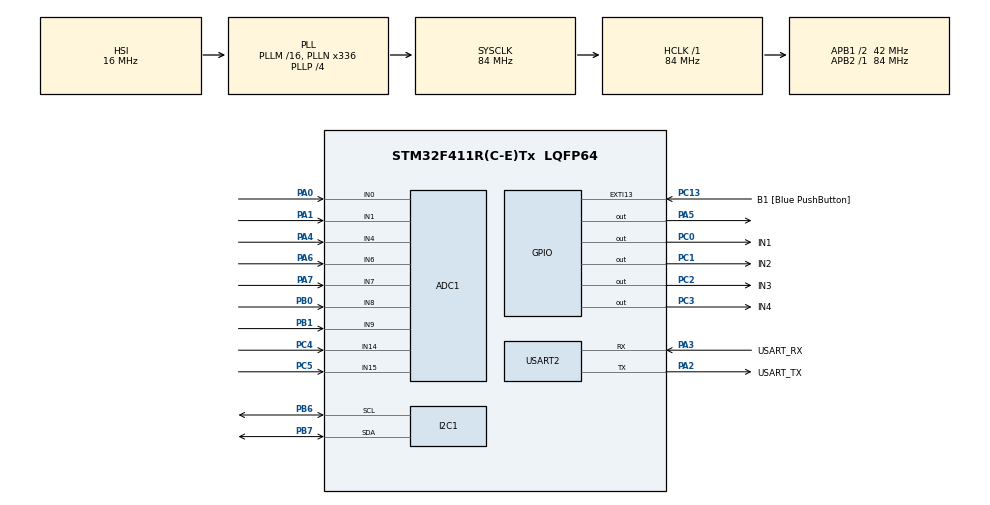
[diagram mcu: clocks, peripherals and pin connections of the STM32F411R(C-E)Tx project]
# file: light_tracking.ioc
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ADC1.Channel-0\#ChannelRegularConversion=ADC_CHANNEL_0
ADC1.Channel-1\#ChannelRegularConversion=ADC_CHANNEL_1
ADC1.Channel-2\#ChannelRegularConversion=ADC_CHANNEL_4
ADC1.Channel-3\#ChannelRegularConversion=ADC_CHANNEL_8
ADC1.Channel-4\#ChannelRegularConversion=ADC_CHANNEL_9
ADC1.Channel-5\#ChannelRegularConversion=ADC_CHANNEL_6
ADC1.Channel-6\#ChannelRegularConversion=ADC_CHANNEL_7
ADC1.Channel-7\#ChannelRegularConversion=ADC_CHANNEL_14
ADC1.Channel-8\#ChannelRegularConversion=ADC_CHANNEL_15
ADC1.ContinuousConvMode=ENABLE
ADC1.DMAContinuousRequests=ENABLE
ADC1.EOCSelection=ADC_EOC_SEQ_CONV
ADC1.NbrOfConversion=9
ADC1.NbrOfConversionFlag=1
ADC1.Rank-0\#ChannelRegularConversion=1
ADC1.Rank-1\#ChannelRegularConversion=2
ADC1.Rank-2\#ChannelRegularConversion=3
ADC1.Rank-3\#ChannelRegularConversion=4
ADC1.Rank-4\#ChannelRegularConversion=5
ADC1.Rank-5\#ChannelRegularConversion=6
ADC1.Rank-6\#ChannelRegularConversion=7
ADC1.Rank-7\#ChannelRegularConversion=8
ADC1.Rank-8\#ChannelRegularConversion=9
ADC1.SamplingTime-0\#ChannelRegularConversion=ADC_SAMPLETIME_3CYCLES
ADC1.SamplingTime-1\#ChannelRegularConversion=ADC_SAMPLETIME_3CYCLES
ADC1.SamplingTime-2\#ChannelRegularConversion=ADC_SAMPLETIME_3CYCLES
ADC1.SamplingTime-3\#ChannelRegularConversion=ADC_SAMPLETIME_3CYCLES
ADC1.SamplingTime-4\#ChannelRegularConversion=ADC_SAMPLETIME_480CYCLES
ADC1.SamplingTime-5\#ChannelRegularConversion=ADC_SAMPLETIME_3CYCLES
ADC1.SamplingTime-6\#ChannelRegularConversion=ADC_SAMPLETIME_3CYCLES
ADC1.SamplingTime-7\#ChannelRegularConversion=ADC_SAMPLETIME_3CYCLES
ADC1.SamplingTime-8\#ChannelRegularConversion=ADC_SAMPLETIME_3CYCLES
ADC1.ScanConvMode=ENABLE
ADC1.master=1
Dma.ADC1.0.Direction=DMA_PERIPH_TO_MEMORY
Dma.ADC1.0.FIFOMode=DMA_FIFOMODE_DISABLE
Dma.ADC1.0.Instance=DMA2_Stream0
Dma.ADC1.0.MemDataAlignment=DMA_MDATAALIGN_WORD
Dma.ADC1.0.MemInc=DMA_MINC_ENABLE
Dma.ADC1.0.Mode=DMA_CIRCULAR
Dma.ADC1.0.PeriphDataAlignment=DMA_PDATAALIGN_WORD
Dma.ADC1.0.PeriphInc=DMA_PINC_DISABLE
Dma.ADC1.0.Priority=DMA_PRIORITY_LOW
Dma.Request0=ADC1
Mcu.Family=STM32F4
Mcu.Name=STM32F411R(C-E)Tx
Mcu.Package=LQFP64
NVIC.DMA2_Stream0_IRQn=true\:0\:0\:false\:false\:true\:false\:true\:true
NVIC.PriorityGroup=NVIC_PRIORITYGROUP_4
PA0-WKUP.Signal=ADCx_IN0
PA1.Signal=ADCx_IN1
PA13.GPIO_Label=TMS
PA13.Mode=Serial_Wire
PA13.Signal=SYS_JTMS-SWDIO
PA14.GPIO_Label=TCK
PA14.Mode=Serial_Wire
PA14.Signal=SYS_JTCK-SWCLK
PA2.GPIO_Label=USART_TX
PA2.Mode=Asynchronous
PA2.Signal=USART2_TX
PA3.GPIO_Label=USART_RX
PA3.Mode=Asynchronous
PA3.Signal=USART2_RX
PA4.Signal=ADCx_IN4
PA5.Signal=GPIO_Output
PA6.Signal=ADCx_IN6
PA7.Signal=ADCx_IN7
PB0.Signal=ADCx_IN8
PB1.Signal=ADCx_IN9
PB3.GPIO_Label=SWO
PB3.Signal=SYS_JTDO-SWO
PB6.Mode=I2C
PB6.Signal=I2C1_SCL
PB7.Mode=I2C
PB7.Signal=I2C1_SDA
PC0.GPIO_Label=IN1
PC0.Signal=GPIO_Output
PC1.GPIO_Label=IN2
PC1.Signal=GPIO_Output
PC13-ANTI_TAMP.GPIO_Label=B1 [Blue PushButton]
PC13-ANTI_TAMP.GPIO_ModeDefaultEXTI=GPIO_MODE_IT_FALLING
PC13-ANTI_TAMP.Signal=GPXTI13
PC14-OSC32_IN.Mode=LSE-External-Oscillator
PC14-OSC32_IN.Signal=RCC_OSC32_IN
PC15-OSC32_OUT.Mode=LSE-External-Oscillator
PC15-OSC32_OUT.Signal=RCC_OSC32_OUT
PC2.GPIO_Label=IN3
PC2.Signal=GPIO_Output
PC3.GPIO_Label=IN4
PC3.Signal=GPIO_Output
PC4.Signal=ADCx_IN14
PC5.Signal=ADCx_IN15
PH0\ -\ OSC_IN.Mode=HSE-External-Clock-Source
PH0\ -\ OSC_IN.Signal=RCC_OSC_IN
PH1\ -\ OSC_OUT.Mode=HSE-External-Clock-Source
PH1\ -\ OSC_OUT.Signal=RCC_OSC_OUT
ProjectManager.HeapSize=0x200
ProjectManager.StackSize=0x400
ProjectManager.TargetToolchain=MDK-ARM V5.32
RCC.48MHZClocksFreq_Value=84000000
RCC.AHBFreq_Value=84000000
RCC.APB1CLKDivider=RCC_HCLK_DIV2
RCC.APB1Freq_Value=42000000
RCC.APB1TimFreq_Value=84000000
RCC.APB2Freq_Value=84000000
RCC.APB2TimFreq_Value=84000000
RCC.CortexFreq_Value=84000000
RCC.FLatency-AdvancedSettings=FLASH_LATENCY_2
RCC.HCLKFreq_Value=84000000
RCC.HSE_VALUE=8000000
RCC.HSI_VALUE=16000000
RCC.PLLN=336
RCC.PLLP=RCC_PLLP_DIV4
RCC.SYSCLKFreq_VALUE=84000000
RCC.SYSCLKSource=RCC_SYSCLKSOURCE_PLLCLK
RCC.VCOOutputFreq_Value=336000000
SH.ADCx_IN0.0=ADC1_IN0,IN0
SH.ADCx_IN1.0=ADC1_IN1,IN1
SH.ADCx_IN14.0=ADC1_IN14,IN14
SH.ADCx_IN15.0=ADC1_IN15,IN15
SH.ADCx_IN4.0=ADC1_IN4,IN4
SH.ADCx_IN6.0=ADC1_IN6,IN6
SH.ADCx_IN7.0=ADC1_IN7,IN7
SH.ADCx_IN8.0=ADC1_IN8,IN8
SH.ADCx_IN9.0=ADC1_IN9,IN9
USART2.VirtualMode=VM_ASYNC
board=NUCLEO-F411RE

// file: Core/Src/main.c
/* USER CODE BEGIN Header */
/**
  ******************************************************************************
  * @file           : main.c
  * @brief          : Main program body
  ******************************************************************************
  * @attention
  *
  * Copyright (c) 2025 STMicroelectronics.
  * All rights reserved.
  *
  * This software is licensed under terms that can be found in the LICENSE file
  * in the root directory of this software component.
  * If no LICENSE file comes with this software, it is provided AS-IS.
  *
  ******************************************************************************
  */
#include <stdio.h>
#include <string.h>

/* USER CODE END Header */
#include "main.h"

/* USER CODE BEGIN PD */
#define LCD_ADDR (0x27 << 1)

#define EEPROM_ADDR 0x08060000

#define IN1_Pin GPIO_PIN_0
#define IN2_Pin GPIO_PIN_1
#define IN3_Pin GPIO_PIN_2
#define IN4_Pin GPIO_PIN_3
#define IN_GPIO_Port GPIOC

/* 모터 28BYJ-48 기준 스텝 상수 정의 */
/* Half-step 모드: 4096 스텝 = 360도 */
#define FULL_ROTATION_STEPS   4096                    // 1회전 = 360도
#define QUARTER_ROTATION_STEPS (FULL_ROTATION_STEPS / 4)  // 90도 = 1024스텝
#define HALF_ROTATION_STEPS    (FULL_ROTATION_STEPS / 2)  // 180도 = 2048스텝

/* USER CODE END PD */

ADC_HandleTypeDef hadc1;
DMA_HandleTypeDef hdma_adc1;

I2C_HandleTypeDef hi2c1;

UART_HandleTypeDef huart2;

/* USER CODE BEGIN PV */
uint32_t adcValues[5];
char msg[64];
uint32_t lastUpdate = 0;
static int currentIndex;
static uint8_t lcd_error_count = 0;
uint32_t ledOnTime = 0;
uint8_t ledActive = 0;
uint8_t stepSequence[8][4] = {
		{1,0,0,1},
		{1,0,0,0},
		{1,1,0,0},
		{0,1,0,0},
		{0,1,1,0},
		{0,0,1,0},
		{0,0,1,1},
		{0,0,0,1}
};
typedef struct {
    int active;           // 동작 중 여부
    int direction;        // 1: CW, -1: CCW
    int totalSteps;       // 전체 회전 스텝 수
    int done;             // 완료 여부
    int stepIndex;        // 시퀀스용 인덱스
    int stepCount;        // 현재까지 회전한 스텝 수
    uint32_t lastTick;    // 마지막 스텝 시간
} MotorControl_t;

MotorControl_t motor = {0};  // 모터 상태 구조체
typedef struct {
    int valid;         // 큐에 명령이 존재함
    int direction;     // 1 또는 -1
    int totalSteps;    // 1024 또는 2048
    int nextIndex;     // 회전 후 예상 인덱스 (EEPROM 기록용)
} MotorQueue_t;

MotorQueue_t motorQueue = {0};
volatile uint32_t lcdTick = 0;

/* USER CODE END PV */

void SystemClock_Config(void);
static void MX_GPIO_Init(void);
static void MX_DMA_Init(void);
static void MX_USART2_UART_Init(void);
static void MX_ADC1_Init(void);
static void MX_I2C1_Init(void);
/* USER CODE BEGIN PFP */
void SendStatusUART(float solarVoltage, int currentIndex);

/* LCD 관련 함수 프로토타입 --------------------------------------*/
void LCD_SendCmd(char cmd);
void LCD_SendData(char data);
void LCD_Init(void);
void LCD_SetCursor(int row, int col);
void LCD_Print(char *str);
void EEPROM_Write(uint32_t data);
uint32_t EEPROM_Read(void);

/* 모터 제어 함수 프로토타입 --------------------------------------*/
void StepMotor(int step);

void LCD_Wait(uint32_t delay_ms);
/* USER CODE END PFP */

/* USER CODE BEGIN 0 */
void SendStatusUART(float solarVoltage, int currentIndex)
{
    char posChar[3];

    switch (currentIndex)
    {
			case 0: strcpy(posChar, "BR"); break;
			case 1: strcpy(posChar, "TR"); break;
			case 2: strcpy(posChar, "TL"); break;
			case 3: strcpy(posChar, "BL"); break;
    }

    snprintf(msg, sizeof(msg),
             "TL:%4u  TR:%4u  BL:%4u  BR:%4u  Solar:%.4fV  POS:%s\r\n",
             (unsigned int)adcValues[2], // TL
             (unsigned int)adcValues[1], // TR
             (unsigned int)adcValues[3], // BL
             (unsigned int)adcValues[0], // BR
             solarVoltage,
             posChar);

    /* LED ON (비동기) */
    HAL_GPIO_WritePin(GPIOA, GPIO_PIN_5, GPIO_PIN_SET);
    ledOnTime = HAL_GetTick();
    ledActive = 1;

    /* UART 송신 */
    HAL_UART_Transmit(&huart2, (uint8_t *)msg, strlen(msg), HAL_MAX_DELAY);
}
void EEPROM_Write(uint32_t data)
{
    // 현재 저장된 값 읽기
    uint32_t current = *(uint32_t*)EEPROM_ADDR;

    // 값이 같으면 플래시 작업 생략
    if (current == data)
        return;

    HAL_FLASH_Unlock();

    FLASH_EraseInitTypeDef EraseInitStruct;
    uint32_t SectorError = 0;
    EraseInitStruct.TypeErase = FLASH_TYPEERASE_SECTORS;
    EraseInitStruct.Sector = FLASH_SECTOR_7;   // 마지막 섹터 (보드에 맞게)
    EraseInitStruct.NbSectors = 1;
    EraseInitStruct.VoltageRange = FLASH_VOLTAGE_RANGE_3;
    HAL_FLASHEx_Erase(&EraseInitStruct, &SectorError);

    HAL_FLASH_Program(FLASH_TYPEPROGRAM_WORD, EEPROM_ADDR, data);

    HAL_FLASH_Lock();
}

uint32_t EEPROM_Read(void)
{
  return *(uint32_t*)EEPROM_ADDR;
}
void Motor_Queue(int direction, int steps, int targetIndex)
{
    motorQueue.valid = 1;
    motorQueue.direction = direction;
    motorQueue.totalSteps = steps;
    motorQueue.nextIndex = targetIndex;
}
void StepMotor(int step)
{
    HAL_GPIO_WritePin(IN_GPIO_Port, IN1_Pin, stepSequence[step][0]);
    HAL_GPIO_WritePin(IN_GPIO_Port, IN2_Pin, stepSequence[step][1]);
    HAL_GPIO_WritePin(IN_GPIO_Port, IN3_Pin, stepSequence[step][2]);
    HAL_GPIO_WritePin(IN_GPIO_Port, IN4_Pin, stepSequence[step][3]);
}
void Motor_Start(int direction, int steps)
{
    if (motor.active) return;  // 현재 회전 중이면 무시

    motor.active = 1;
    motor.direction = direction;
    motor.totalSteps = steps;
    motor.stepIndex = 0;   // 또는 static 유지 원하면 생략 가능
    motor.stepCount = 0;
    motor.done = 0;
    motor.lastTick = HAL_GetTick();
}
void Motor_ProcessStep()
{
    if (!motor.active || motor.done) return;

    if (HAL_GetTick() - motor.lastTick < 2) return;  // 2ms마다
    motor.lastTick = HAL_GetTick();

    motor.stepIndex = (motor.stepIndex + motor.direction + 8) % 8;
    StepMotor(motor.stepIndex);

    motor.stepCount++;
    if (motor.stepCount >= motor.totalSteps)
    {
        motor.active = 0;
        motor.done = 1;

        // 큐가 존재하면 다음 회전 실행
        if (motorQueue.valid)
        {
            Motor_Start(motorQueue.direction, motorQueue.totalSteps);
            currentIndex = motorQueue.nextIndex;
            EEPROM_Write(currentIndex);
            motorQueue.valid = 0;
        }
    }
}
void LCD_SendCmd(char cmd)
{
    char data_u, data_l;
    uint8_t data_t[4];
    data_u = (cmd & 0xF0);
    data_l = ((cmd << 4) & 0xF0);
    data_t[0] = data_u | 0x0C;
    data_t[1] = data_u | 0x08;
    data_t[2] = data_l | 0x0C;
    data_t[3] = data_l | 0x08;

    if (HAL_I2C_Master_Transmit(&hi2c1, LCD_ADDR, data_t, 4, 100) != HAL_OK)
    {
        lcd_error_count++;
    }
    else
    {
        lcd_error_count = 0; // 정상 동작 시 리셋
    }

    LCD_Wait(2);

    // 에러 누적되면 LCD 재초기화
    if (lcd_error_count >= 3)
    {
        LCD_Init();
        lcd_error_count = 0;
    }
}

void LCD_SendData(char data)
{
    char data_u, data_l;
    uint8_t data_t[4];
    data_u = (data & 0xF0);
    data_l = ((data << 4) & 0xF0);
    data_t[0] = data_u | 0x0D;
    data_t[1] = data_u | 0x09;
    data_t[2] = data_l | 0x0D;
    data_t[3] = data_l | 0x09;

    if (HAL_I2C_Master_Transmit(&hi2c1, LCD_ADDR, data_t, 4, 100) != HAL_OK)
    {
        lcd_error_count++;
    }
    else
    {
        lcd_error_count = 0;
    }

    LCD_Wait(2);

    if (lcd_error_count >= 3)
    {
        LCD_Init();
        lcd_error_count = 0;
    }
}
void LCD_Init(void)
{
    LCD_Wait(50); // 전원 안정화 대기

    LCD_SendCmd(0x30); LCD_Wait(5);
    LCD_SendCmd(0x30); LCD_Wait(5);
    LCD_SendCmd(0x30); LCD_Wait(5);
    LCD_SendCmd(0x20); LCD_Wait(5); // 4-bit mode

    LCD_SendCmd(0x28); // Function set: 4-bit, 2-line, 5x8 dots
    LCD_SendCmd(0x08); // Display off
    LCD_SendCmd(0x01); LCD_Wait(3); // Clear display (2ms 이상)
    LCD_SendCmd(0x06); // Entry mode set: increment
    LCD_SendCmd(0x0C); // Display on, cursor off
}
void LCD_SetCursor(int row, int col)
{
  int row_offsets[] = {0x00, 0x40};
  LCD_SendCmd(0x80 | (col + row_offsets[row]));
}

void LCD_Print(char *str)
{
  while (*str) LCD_SendData(*str++);
}
uint32_t GetLCDTick(void)
{
    return lcdTick;
}
void LCD_Wait(uint32_t delay_ms)
{
    uint32_t start = GetLCDTick();
    while ((GetLCDTick() - start) < delay_ms)
    {
        Motor_ProcessStep();  // <-- 중요: 모터 회전 중에도 처리 계속
    }
}
/* USER CODE END 0 */

int main(void)
{

  /* MCU Configuration--------------------------------------------------------*/

  /* Reset of all peripherals, Initializes the Flash interface and the Systick. */
  HAL_Init();

  /* Configure the system clock */
  SystemClock_Config();

  /* Initialize all configured peripherals */
  MX_GPIO_Init();
  MX_DMA_Init();
  MX_USART2_UART_Init();
  MX_ADC1_Init();
  MX_I2C1_Init();
  /* USER CODE BEGIN 2 */
  LCD_Init();
  HAL_ADC_Start_DMA(&hadc1, adcValues, 5);

	LCD_SetCursor(0, 0);
	char lcdLine[17];
	snprintf(lcdLine, sizeof(lcdLine), "Solar:");
	LCD_Print(lcdLine);

	LCD_SetCursor(1, 0);
	snprintf(lcdLine, sizeof(lcdLine), "Position:");
	LCD_Print(lcdLine);

  static int lastDirection = 0;
  static int mismatchCount = 0;
  int sensorToDir[4] = {0, 1, 2, 3};

  uint32_t storedIndex = EEPROM_Read();
  currentIndex = (storedIndex <= 3) ? storedIndex : 0;

  // 초기 보정
  int rawMaxIndex = 0;
  uint32_t maxValue = 0, secondMax = 0;
  for (int i = 0; i < 4; i++)
  {
    if (adcValues[i] > maxValue)
    {
      maxValue = adcValues[i];
      rawMaxIndex = i;
    }
  }
  for (int i = 0; i < 4; i++)
  {
    if (i != rawMaxIndex && adcValues[i] > secondMax)
      secondMax = adcValues[i];
  }

  int maxIndex = sensorToDir[rawMaxIndex];
  if ((maxValue - secondMax) >= 300 && maxIndex != currentIndex)
  {
    int diff = maxIndex - currentIndex;
    if (diff > 3) diff -= 4;
    if (diff < -3) diff += 4;

    if (diff == 1 || diff == -3)
    {
      Motor_Start(1, QUARTER_ROTATION_STEPS);
      lastDirection = 1;
    }
    else if (diff == -1 || diff == 3)
    {
      Motor_Start(-1, QUARTER_ROTATION_STEPS);
      lastDirection = -1;
    }
    else if (diff == 2 || diff == -2)
    {
      int dir = (lastDirection == 1) ? -1 : 1;
			Motor_Start(dir, HALF_ROTATION_STEPS);
      lastDirection = dir;
    }

    currentIndex = maxIndex;
    EEPROM_Write(currentIndex);
  }
  /* USER CODE END 2 */

  /* Infinite loop */
  /* USER CODE BEGIN WHILE */
  while (1)
  {
		Motor_ProcessStep();

		if (ledActive && (HAL_GetTick() - ledOnTime >= 100))
		{
			HAL_GPIO_WritePin(GPIOA, GPIO_PIN_5, GPIO_PIN_RESET);
			ledActive = 0;
		}

		/* --- 태양광 전압 계산 추가 --- */
		float solarVoltage = (adcValues[4] * 3.3f / 4095.0f) * 2.0f;

    /* 가장 밝은 센서 찾기 */
    rawMaxIndex = 0;
    maxValue = adcValues[0];
    for (int i = 1; i < 4; i++)
    {
      if (adcValues[i] > maxValue)
      {
        maxValue = adcValues[i];
        rawMaxIndex = i;
      }
    }

    /* 방향 인덱스로 변환 */
    maxIndex = sensorToDir[rawMaxIndex];

    /* 두 번째로 큰 값 찾기 (Threshold 체크용) */
    secondMax = 0;
    for (int i = 0; i < 4; i++)
    {
      if (i != rawMaxIndex && adcValues[i] > secondMax)
      {
        secondMax = adcValues[i];
      }
    }

    if (HAL_GetTick() - lastUpdate >= 500)
    {
        // UART 송신
        SendStatusUART(solarVoltage, currentIndex);

        // LCD 출력
        char posChar[3];
        switch (currentIndex)
        {
					case 0: strcpy(posChar, "BR"); break;
					case 1: strcpy(posChar, "TR"); break;
					case 2: strcpy(posChar, "TL"); break;
					case 3: strcpy(posChar, "BL"); break;
        }

        LCD_SetCursor(0, 7);
        char lcdLine[17];
        snprintf(lcdLine, sizeof(lcdLine), "%.3fV", solarVoltage);
        LCD_Print(lcdLine);

        LCD_SetCursor(1, 10);
        snprintf(lcdLine, sizeof(lcdLine), "%s", posChar);
        LCD_Print(lcdLine);

        lastUpdate = HAL_GetTick();
    }

    /* 센서값 차이가 Threshold보다 작으면 회전하지 않음 */
    if ((maxValue - secondMax) < 300) continue;

    /* 목표 방향과 현재 방향 차이 계산 */
    int diff = maxIndex - currentIndex;

    /* diff 정규화 (-3 ~ +3) */
    if (diff > 3) diff -= 4;
    if (diff < -3) diff += 4;

		if (diff != 0 && !motor.active)
		{
				mismatchCount++;
				if (mismatchCount >= 2)
				{
						int dir = 0;
						int steps = 0;

						if (diff == 1 || diff == -3) {
								dir = 1;
								steps = QUARTER_ROTATION_STEPS;
						}
						else if (diff == -1 || diff == 3) {
								dir = -1;
								steps = QUARTER_ROTATION_STEPS;
						}
						else if (diff == 2 || diff == -2) {
								dir = (lastDirection == 1) ? -1 : 1;
								steps = HALF_ROTATION_STEPS;
						}

						if (dir != 0) {
								Motor_Start(dir, steps);
								lastDirection = dir;
								currentIndex = maxIndex;
								EEPROM_Write(currentIndex);
						}

						mismatchCount = 0;
				}
		}
		else if (diff != 0 && motor.active)
		{
				// 회전 중일 때는 큐에 저장
				int dir = 0;
				int steps = 0;

				if (diff == 1 || diff == -3) {
						dir = 1;
						steps = QUARTER_ROTATION_STEPS;
				}
				else if (diff == -1 || diff == 3) {
						dir = -1;
						steps = QUARTER_ROTATION_STEPS;
				}
				else if (diff == 2 || diff == -2) {
						dir = (lastDirection == 1) ? -1 : 1;
						steps = HALF_ROTATION_STEPS;
				}

				if (dir != 0)
				{
						Motor_Queue(dir, steps, maxIndex);
				}

				mismatchCount = 0; // 현재 값은 큐에 넣었으므로 초기화
		}
		else if (diff == 0)
		{
				mismatchCount = 0;
		}
    /* USER CODE END WHILE */

  }
}

void SystemClock_Config(void)
{
  RCC_OscInitTypeDef RCC_OscInitStruct = {0};
  RCC_ClkInitTypeDef RCC_ClkInitStruct = {0};

  /** Configure the main internal regulator output voltage
  */
  __HAL_RCC_PWR_CLK_ENABLE();
  __HAL_PWR_VOLTAGESCALING_CONFIG(PWR_REGULATOR_VOLTAGE_SCALE1);

  /** Initializes the RCC Oscillators according to the specified parameters
  * in the RCC_OscInitTypeDef structure.
  */
  RCC_OscInitStruct.OscillatorType = RCC_OSCILLATORTYPE_HSI;
  RCC_OscInitStruct.HSIState = RCC_HSI_ON;
  RCC_OscInitStruct.HSICalibrationValue = RCC_HSICALIBRATION_DEFAULT;
  RCC_OscInitStruct.PLL.PLLState = RCC_PLL_ON;
  RCC_OscInitStruct.PLL.PLLSource = RCC_PLLSOURCE_HSI;
  RCC_OscInitStruct.PLL.PLLM = 16;
  RCC_OscInitStruct.PLL.PLLN = 336;
  RCC_OscInitStruct.PLL.PLLP = RCC_PLLP_DIV4;
  RCC_OscInitStruct.PLL.PLLQ = 4;
  if (HAL_RCC_OscConfig(&RCC_OscInitStruct) != HAL_OK)
  {
    Error_Handler();
  }

  /** Initializes the CPU, AHB and APB buses clocks
  */
  RCC_ClkInitStruct.ClockType = RCC_CLOCKTYPE_HCLK|RCC_CLOCKTYPE_SYSCLK
                              |RCC_CLOCKTYPE_PCLK1|RCC_CLOCKTYPE_PCLK2;
  RCC_ClkInitStruct.SYSCLKSource = RCC_SYSCLKSOURCE_PLLCLK;
  RCC_ClkInitStruct.AHBCLKDivider = RCC_SYSCLK_DIV1;
  RCC_ClkInitStruct.APB1CLKDivider = RCC_HCLK_DIV2;
  RCC_ClkInitStruct.APB2CLKDivider = RCC_HCLK_DIV1;

  if (HAL_RCC_ClockConfig(&RCC_ClkInitStruct, FLASH_LATENCY_2) != HAL_OK)
  {
    Error_Handler();
  }
}

static void MX_ADC1_Init(void)
{

  ADC_ChannelConfTypeDef sConfig = {0};

  /** Configure the global features of the ADC (Clock, Resolution, Data Alignment and number of conversion)
  */
  hadc1.Instance = ADC1;
  hadc1.Init.ClockPrescaler = ADC_CLOCK_SYNC_PCLK_DIV4;
  hadc1.Init.Resolution = ADC_RESOLUTION_12B;
  hadc1.Init.ScanConvMode = ENABLE;
  hadc1.Init.ContinuousConvMode = ENABLE;
  hadc1.Init.DiscontinuousConvMode = DISABLE;
  hadc1.Init.ExternalTrigConvEdge = ADC_EXTERNALTRIGCONVEDGE_NONE;
  hadc1.Init.ExternalTrigConv = ADC_SOFTWARE_START;
  hadc1.Init.DataAlign = ADC_DATAALIGN_RIGHT;
  hadc1.Init.NbrOfConversion = 9;
  hadc1.Init.DMAContinuousRequests = ENABLE;
  hadc1.Init.EOCSelection = ADC_EOC_SEQ_CONV;
  if (HAL_ADC_Init(&hadc1) != HAL_OK)
  {
    Error_Handler();
  }

  /** Configure for the selected ADC regular channel its corresponding rank in the sequencer and its sample time.
  */
  sConfig.Channel = ADC_CHANNEL_0;
  sConfig.Rank = 1;
  sConfig.SamplingTime = ADC_SAMPLETIME_3CYCLES;
  if (HAL_ADC_ConfigChannel(&hadc1, &sConfig) != HAL_OK)
  {
    Error_Handler();
  }

  /** Configure for the selected ADC regular channel its corresponding rank in the sequencer and its sample time.
  */
  sConfig.Channel = ADC_CHANNEL_1;
  sConfig.Rank = 2;
  if (HAL_ADC_ConfigChannel(&hadc1, &sConfig) != HAL_OK)
  {
    Error_Handler();
  }

  /** Configure for the selected ADC regular channel its corresponding rank in the sequencer and its sample time.
  */
  sConfig.Channel = ADC_CHANNEL_4;
  sConfig.Rank = 3;
  if (HAL_ADC_ConfigChannel(&hadc1, &sConfig) != HAL_OK)
  {
    Error_Handler();
  }

  /** Configure for the selected ADC regular channel its corresponding rank in the sequencer and its sample time.
  */
  sConfig.Channel = ADC_CHANNEL_8;
  sConfig.Rank = 4;
  if (HAL_ADC_ConfigChannel(&hadc1, &sConfig) != HAL_OK)
  {
    Error_Handler();
  }

  /** Configure for the selected ADC regular channel its corresponding rank in the sequencer and its sample time.
  */
  sConfig.Channel = ADC_CHANNEL_9;
  sConfig.Rank = 5;
  sConfig.SamplingTime = ADC_SAMPLETIME_480CYCLES;
  if (HAL_ADC_ConfigChannel(&hadc1, &sConfig) != HAL_OK)
  {
    Error_Handler();
  }

  /** Configure for the selected ADC regular channel its corresponding rank in the sequencer and its sample time.
  */
  sConfig.Channel = ADC_CHANNEL_6;
  sConfig.Rank = 6;
  sConfig.SamplingTime = ADC_SAMPLETIME_3CYCLES;
  if (HAL_ADC_ConfigChannel(&hadc1, &sConfig) != HAL_OK)
  {
    Error_Handler();
  }

  /** Configure for the selected ADC regular channel its corresponding rank in the sequencer and its sample time.
  */
  sConfig.Channel = ADC_CHANNEL_7;
  sConfig.Rank = 7;
  if (HAL_ADC_ConfigChannel(&hadc1, &sConfig) != HAL_OK)
  {
    Error_Handler();
  }

  /** Configure for the selected ADC regular channel its corresponding rank in the sequencer and its sample time.
  */
  sConfig.Channel = ADC_CHANNEL_14;
  sConfig.Rank = 8;
  if (HAL_ADC_ConfigChannel(&hadc1, &sConfig) != HAL_OK)
  {
    Error_Handler();
  }

  /** Configure for the selected ADC regular channel its corresponding rank in the sequencer and its sample time.
  */
  sConfig.Channel = ADC_CHANNEL_15;
  sConfig.Rank = 9;
  if (HAL_ADC_ConfigChannel(&hadc1, &sConfig) != HAL_OK)
  {
    Error_Handler();
  }

}

static void MX_I2C1_Init(void)
{

  hi2c1.Instance = I2C1;
  hi2c1.Init.ClockSpeed = 100000;
  hi2c1.Init.DutyCycle = I2C_DUTYCYCLE_2;
  hi2c1.Init.OwnAddress1 = 0;
  hi2c1.Init.AddressingMode = I2C_ADDRESSINGMODE_7BIT;
  hi2c1.Init.DualAddressMode = I2C_DUALADDRESS_DISABLE;
  hi2c1.Init.OwnAddress2 = 0;
  hi2c1.Init.GeneralCallMode = I2C_GENERALCALL_DISABLE;
  hi2c1.Init.NoStretchMode = I2C_NOSTRETCH_DISABLE;
  if (HAL_I2C_Init(&hi2c1) != HAL_OK)
  {
    Error_Handler();
  }

}

static void MX_USART2_UART_Init(void)
{

  huart2.Instance = USART2;
  huart2.Init.BaudRate = 115200;
  huart2.Init.WordLength = UART_WORDLENGTH_8B;
  huart2.Init.StopBits = UART_STOPBITS_1;
  huart2.Init.Parity = UART_PARITY_NONE;
  huart2.Init.Mode = UART_MODE_TX_RX;
  huart2.Init.HwFlowCtl = UART_HWCONTROL_NONE;
  huart2.Init.OverSampling = UART_OVERSAMPLING_16;
  if (HAL_UART_Init(&huart2) != HAL_OK)
  {
    Error_Handler();
  }

}

static void MX_DMA_Init(void)
{

  /* DMA controller clock enable */
  __HAL_RCC_DMA2_CLK_ENABLE();

  /* DMA interrupt init */
  /* DMA2_Stream0_IRQn interrupt configuration */
  HAL_NVIC_SetPriority(DMA2_Stream0_IRQn, 0, 0);
  HAL_NVIC_EnableIRQ(DMA2_Stream0_IRQn);

}

static void MX_GPIO_Init(void)
{
  GPIO_InitTypeDef GPIO_InitStruct = {0};

  /* GPIO Ports Clock Enable */
  __HAL_RCC_GPIOC_CLK_ENABLE();
  __HAL_RCC_GPIOH_CLK_ENABLE();
  __HAL_RCC_GPIOA_CLK_ENABLE();
  __HAL_RCC_GPIOB_CLK_ENABLE();

  /*Configure GPIO pin Output Level */
  HAL_GPIO_WritePin(GPIOC, IN1_Pin|IN2_Pin|IN3_Pin|IN4_Pin, GPIO_PIN_RESET);

  /*Configure GPIO pin Output Level */
  HAL_GPIO_WritePin(GPIOA, GPIO_PIN_5, GPIO_PIN_RESET);

  /*Configure GPIO pin : B1_Pin */
  GPIO_InitStruct.Pin = B1_Pin;
  GPIO_InitStruct.Mode = GPIO_MODE_IT_FALLING;
  GPIO_InitStruct.Pull = GPIO_NOPULL;
  HAL_GPIO_Init(B1_GPIO_Port, &GPIO_InitStruct);

  /*Configure GPIO pins : IN1_Pin IN2_Pin IN3_Pin IN4_Pin */
  GPIO_InitStruct.Pin = IN1_Pin|IN2_Pin|IN3_Pin|IN4_Pin;
  GPIO_InitStruct.Mode = GPIO_MODE_OUTPUT_PP;
  GPIO_InitStruct.Pull = GPIO_NOPULL;
  GPIO_InitStruct.Speed = GPIO_SPEED_FREQ_LOW;
  HAL_GPIO_Init(GPIOC, &GPIO_InitStruct);

  /*Configure GPIO pin : PA5 */
  GPIO_InitStruct.Pin = GPIO_PIN_5;
  GPIO_InitStruct.Mode = GPIO_MODE_OUTPUT_PP;
  GPIO_InitStruct.Pull = GPIO_NOPULL;
  GPIO_InitStruct.Speed = GPIO_SPEED_FREQ_LOW;
  HAL_GPIO_Init(GPIOA, &GPIO_InitStruct);

}

void Error_Handler(void)
{
  __disable_irq();
  while (1)
  {
  }
}
